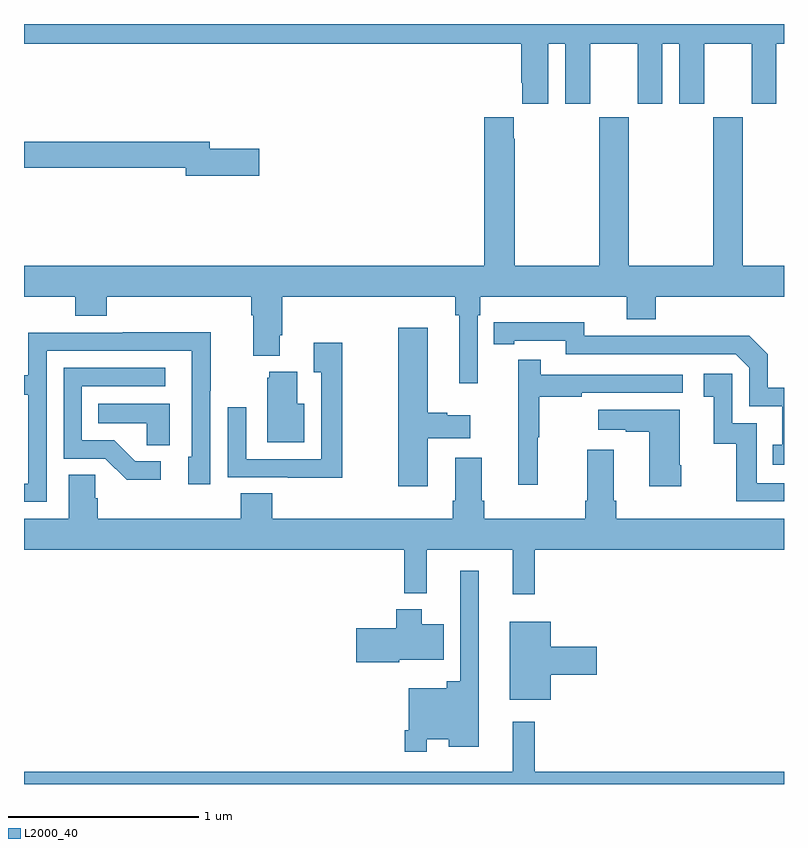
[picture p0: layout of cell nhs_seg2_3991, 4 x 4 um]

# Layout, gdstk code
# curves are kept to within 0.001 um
import gdstk
lib = gdstk.Library(unit=1e-6, precision=1e-09)
def P(c, l, *ps):  # polygons
    for p in ps: c.add(gdstk.Polygon(p, *l))
L2000_40 = (2000, 40)

nhs_seg2_3991 = lib.new_cell('nhs_seg2_3991')
P(nhs_seg2_3991, L2000_40, [(327.76,587.696),(327.848,587.696),(327.848,587.379),(327.979,587.379),(327.979,587.696),(328.229,587.696),(328.229,587.379),(328.36,587.379),(328.36,587.696),(328.448,587.696),(328.448,587.379),(328.579,587.379),(328.579,587.696),(328.829,587.696),(328.829,587.379),(328.96,587.379),(328.96,587.696),(329,587.696),(329,587.8),(325,587.8),(325,587.696),(327.617,587.696),(327.617,587.491),(327.623,587.491),(327.623,587.379),(327.76,587.379)],
  [(327.387,586.268),(327.401,586.268),(327.401,586.364),(328.172,586.364),(328.172,586.247),(328.325,586.247),(328.325,586.364),(329,586.364),(329,586.528),(328.782,586.528),(328.782,587.308),(328.627,587.308),(328.627,586.528),(328.182,586.528),(328.182,587.308),(328.027,587.308),(328.027,586.528),(327.582,586.528),(327.582,587.195),(327.577,587.195),(327.577,587.308),(327.422,587.308),(327.422,586.528),(325,586.528),(325,586.364),(325.271,586.364),(325.271,586.265),(325.436,586.265),(325.436,586.364),(326.195,586.364),(326.195,586.268),(326.207,586.268),(326.207,586.055),(326.347,586.055),(326.347,586.162),(326.36,586.162),(326.36,586.364),(327.271,586.364),(327.271,586.268),(327.29,586.268),(327.29,585.909),(327.387,585.909)],
  [(326.239,587.144),(325.978,587.144),(325.978,587.18),(325,587.18),(325,587.044),(325.85,587.044),(325.85,587.002),(326.239,587.002)],
  [(329,585.885),(328.914,585.885),(328.914,586.062),(328.816,586.16),(328.408,586.16),(328.408,586.158),(327.948,586.158),(327.948,586.231),(327.472,586.23),(327.472,586.114),(327.58,586.114),(327.58,586.134),(327.852,586.134),(327.852,586.062),(328.746,586.062),(328.818,585.99),(328.818,585.789),(328.991,585.789),(328.991,585.585),(328.942,585.585),(328.942,585.48),(329,585.48)],
  [(327.124,585.62),(327.349,585.62),(327.349,585.742),(327.228,585.742),(327.228,585.755),(327.124,585.755),(327.124,586.201),(326.971,586.201),(326.971,585.366),(327.124,585.366)],
  [(325.119,586.08),(325.884,586.08),(325.884,585.522),(325.865,585.522),(325.865,585.378),(325.98,585.378),(325.98,585.871),(325.983,585.871),(325.983,586.178),(325.519,586.178),(325.519,586.176),(325.023,586.176),(325.023,585.951),(325,585.951),(325,585.85),(325.023,585.85),(325.023,585.381),(325,585.381),(325,585.285),(325.119,585.285)],
  [(326.674,586.123),(326.525,586.123),(326.525,585.967),(326.565,585.967),(326.565,585.51),(326.169,585.51),(326.169,585.784),(326.073,585.784),(326.073,585.414),(326.389,585.414),(326.389,585.413),(326.674,585.413)],
  [(327.704,585.624),(327.712,585.624),(327.712,585.838),(327.935,585.838),(327.935,585.858),(328.468,585.858),(328.468,585.954),(327.719,585.954),(327.719,586.033),(327.602,586.033),(327.602,585.761),(327.601,585.761),(327.601,585.375),(327.704,585.375)],
  [(325.72,585.498),(325.585,585.498),(325.474,585.609),(325.305,585.609),(325.305,585.894),(325.744,585.894),(325.744,585.99),(325.209,585.99),(325.209,585.513),(325.428,585.513),(325.541,585.401),(325.72,585.401)],
  [(326.476,585.802),(326.437,585.802),(326.437,585.97),(326.291,585.97),(326.291,585.939),(326.279,585.939),(326.279,585.599),(326.476,585.599)],
  [(329,585.384),(328.857,585.384),(328.857,585.699),(328.728,585.699),(328.728,585.958),(328.578,585.958),(328.578,585.837),(328.631,585.837),(328.631,585.591),(328.749,585.591),(328.749,585.288),(329,585.288)],
  [(325.768,585.802),(325.39,585.802),(325.39,585.698),(325.647,585.698),(325.647,585.583),(325.768,585.583)],
  [(328.458,585.478),(328.45,585.478),(328.45,585.769),(328.023,585.769),(328.023,585.665),(328.166,585.665),(328.166,585.655),(328.292,585.655),(328.292,585.366),(328.458,585.366)],
  [(327.689,585.032),(329,585.032),(329,585.196),(328.118,585.196),(328.118,585.292),(328.105,585.292),(328.105,585.559),(327.965,585.559),(327.965,585.292),(327.953,585.292),(327.953,585.196),(327.422,585.196),(327.422,585.292),(327.409,585.292),(327.409,585.517),(327.269,585.517),(327.269,585.292),(327.257,585.292),(327.257,585.196),(326.306,585.196),(326.306,585.329),(326.141,585.329),(326.141,585.196),(325.388,585.196),(325.388,585.305),(325.374,585.305),(325.374,585.428),(325.235,585.428),(325.235,585.196),(325,585.196),(325,585.032),(327.001,585.032),(327.001,584.804),(327.119,584.804),(327.119,585.032),(327.572,585.032),(327.572,584.799),(327.689,584.799)],
  [(327.12,584.036),(327.236,584.036),(327.236,583.997),(327.394,583.997),(327.394,584.923),(327.297,584.923),(327.297,584.341),(327.224,584.341),(327.224,584.305),(327.024,584.305),(327.024,584.083),(327.004,584.083),(327.004,583.971),(327.12,583.971)],
  [(326.976,584.453),(327.208,584.453),(327.208,584.641),(327.094,584.641),(327.094,584.719),(326.96,584.719),(326.96,584.619),(326.748,584.619),(326.748,584.441),(326.976,584.441)],
  [(327.772,584.375),(328.015,584.375),(328.015,584.522),(327.772,584.522),(327.772,584.653),(327.557,584.653),(327.557,584.243),(327.772,584.243)],
  [(329,583.864),(327.689,583.864),(327.689,584.128),(327.572,584.128),(327.572,583.864),(325,583.864),(325,583.8),(329,583.8)])

lib.write_gds('nhs_seg2_3991.gds')
